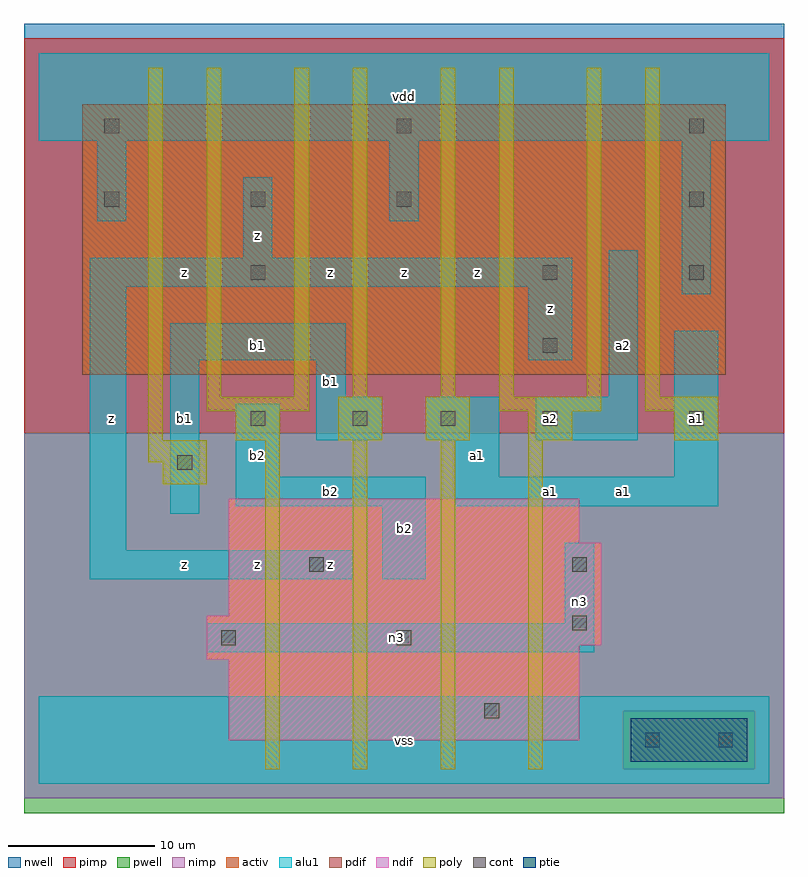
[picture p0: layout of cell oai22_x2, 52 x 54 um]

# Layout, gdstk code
import gdstk
lib = gdstk.Library(unit=1e-6, precision=1e-09)
def R(c, l, rs):  # rectangles x0, y0, x1, y1
    for r in rs: c.add(gdstk.rectangle(r[:2], r[2:], *l))
def A(c, l, x, y, w, h, nx, ny, dx, dy):  # array of equal rectangles
    R(c, l, [(x+i*dx, y+j*dy, x+i*dx+w, y+j*dy+h) for i in range(nx) for j in range(ny)])
ndif = (3, 0)
pdif = (4, 0)
ptie = (6, 0)
cont = (25, 0)
pwell = (41, 0)
nwell = (42, 0)
activ = (43, 0)
pimp = (44, 0)
nimp = (45, 0)
poly = (46, 0)
alu1 = (49, 0)

oai22_x2 = lib.new_cell('oai22_x2')
R(oai22_x2, ndif, [(13,3,37,8.5), (11.5,8.5,37,9.5), (11.5,9.5,38.5,11.5), (13,11.5,38.5,16.5), (13,16.5,37,19.5)])
R(oai22_x2, pdif, [(3,28,47,46.5)])
R(oai22_x2, ptie, [(40.5,1.5,48.5,4.5)])
A(oai22_x2, cont, 34.5, 24.5, 1, 1, 1, 3, 0, 5)
A(oai22_x2, cont, 4.5, 39.5, 1, 1, 3, 1, 10, 0)
A(oai22_x2, cont, 4.5, 44.5, 1, 1, 3, 1, 20, 0)
R(oai22_x2, cont, [(41.5,2.5,42.5,3.5), (46.5,2.5,47.5,3.5), (30.5,4.5,31.5,5.5), (12.5,9.5,13.5,10.5), (24.5,9.5,25.5,10.5), (36.5,10.5,37.5,11.5), (18.5,14.5,19.5,15.5), (36.5,14.5,37.5,15.5), (9.5,21.5,10.5,22.5), (14.5,24.5,15.5,25.5), (21.5,24.5,22.5,25.5), (27.5,24.5,28.5,25.5), (44.5,24.5,45.5,25.5), (14.5,34.5,15.5,35.5), (44.5,34.5,45.5,35.5), (44.5,39.5,45.5,40.5)])
R(oai22_x2, pwell, [(-1,-2,51,24)])
R(oai22_x2, nwell, [(-1,24,51,52)])
R(oai22_x2, activ, [(40.5,1.5,48.5,4.5), (13,3,37,8.5), (11.5,8.5,37,9.5), (11.5,9.5,38.5,11.5), (13,11.5,38.5,16.5), (13,16.5,37,19.5), (3,28,47,46.5)])
R(oai22_x2, pimp, [(40,1,49,5), (-1,24,51,51)])
R(oai22_x2, nimp, [(-1,-1,51,1), (-1,1,40,5), (49,1,51,5), (-1,5,51,24)])
A(oai22_x2, poly, 15.5, 1, 1, 22.5, 4, 1, 6, 0)
R(oai22_x2, poly, [(8.5,20.5,11.5,22), (7.5,22,11.5,23.5), (7.5,23.5,8.5,49), (13.5,23.5,16.5,25.5), (20.5,23.5,23.5,26.5), (26.5,23.5,29.5,26.5), (33.5,23.5,36.5,25.5), (43.5,23.5,46.5,25.5), (11.5,25.5,18.5,26.5), (31.5,25.5,38.5,26.5), (41.5,25.5,46.5,26.5), (11.5,26.5,12.5,49), (17.5,26.5,18.5,49), (21.5,26.5,22.5,49), (27.5,26.5,28.5,49), (31.5,26.5,32.5,49), (37.5,26.5,38.5,49), (41.5,26.5,42.5,49)])
R(oai22_x2, alu1, [(0,0,50,6), (11.5,9,38,11), (36,11,38,16.5), (3.5,14,21.5,16), (23.5,14,26.5,19), (3.5,16,6,34), (9,18.5,11,29), (13.5,19,26.5,21), (28.5,19,46.5,21), (13.5,21,16.5,26), (28.5,21,31.5,23.5), (43.5,21,46.5,31), (19,23.5,23.5,26.5), (26.5,23.5,31.5,26.5), (34,23.5,41,26.5), (19,26.5,21,29), (39,26.5,41,36.5), (9,29,21,31.5), (33.5,29,36.5,34), (44,33.5,46,44), (3.5,34,36.5,36), (14,36,16,41.5), (4,38.5,6,44), (24,38.5,26,44), (0,44,50,50)])
oai22_x2.add(gdstk.Label('z', (5,25), layer=49, texttype=0))
oai22_x2.add(gdstk.Label('z', (10,15), layer=49, texttype=0))
oai22_x2.add(gdstk.Label('z', (15,15), layer=49, texttype=0))
oai22_x2.add(gdstk.Label('b1', (10,25), layer=49, texttype=0))
oai22_x2.add(gdstk.Label('b2', (15,22.5), layer=49, texttype=0))
oai22_x2.add(gdstk.Label('b1', (15,30), layer=49, texttype=0))
oai22_x2.add(gdstk.Label('z', (10,35), layer=49, texttype=0))
oai22_x2.add(gdstk.Label('z', (15,37.5), layer=49, texttype=0))
oai22_x2.add(gdstk.Label('vss', (25,3), layer=49, texttype=0))
oai22_x2.add(gdstk.Label('z', (20,15), layer=49, texttype=0))
oai22_x2.add(gdstk.Label('b2', (25,17.5), layer=49, texttype=0))
oai22_x2.add(gdstk.Label('b2', (20,20), layer=49, texttype=0))
oai22_x2.add(gdstk.Label('b1', (20,27.5), layer=49, texttype=0))
oai22_x2.add(gdstk.Label('z', (20,35), layer=49, texttype=0))
oai22_x2.add(gdstk.Label('z', (25,35), layer=49, texttype=0))
oai22_x2.add(gdstk.Label('vdd', (25,47), layer=49, texttype=0))
oai22_x2.add(gdstk.Label('n3', (37,12.5), layer=49, texttype=0))
oai22_x2.add(gdstk.Label('n3', (24.5,10), layer=49, texttype=0))
oai22_x2.add(gdstk.Label('a1', (35,20), layer=49, texttype=0))
oai22_x2.add(gdstk.Label('a1', (30,22.5), layer=49, texttype=0))
oai22_x2.add(gdstk.Label('a2', (35,25), layer=49, texttype=0))
oai22_x2.add(gdstk.Label('z', (30,35), layer=49, texttype=0))
oai22_x2.add(gdstk.Label('z', (35,32.5), layer=49, texttype=0))
oai22_x2.add(gdstk.Label('a1', (40,20), layer=49, texttype=0))
oai22_x2.add(gdstk.Label('a1', (45,25), layer=49, texttype=0))
oai22_x2.add(gdstk.Label('a2', (40,30), layer=49, texttype=0))

lib.write_gds('oai22_x2.gds')
